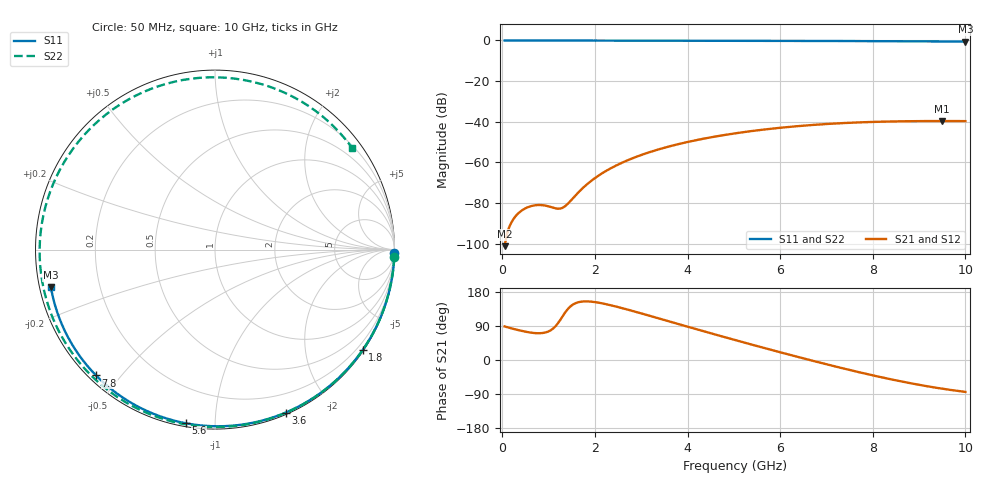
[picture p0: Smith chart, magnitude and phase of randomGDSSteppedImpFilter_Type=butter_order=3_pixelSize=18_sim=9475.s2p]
! freq	dB(S11)	phase(S11)	dB(S12)	phase(S12)
!  dB(S21)	phase(S21)	dB(S22)	phase(S22)
!S-par simulation data
#  GHz  S  DB  R 50
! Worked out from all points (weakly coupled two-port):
!   200 points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, 50 MHz to 10 GHz, reference 50 ohm
!   highest |S21| = -39.65 dB at 9.5 GHz (marker M1); lowest = -101.2 dB at 50 MHz (marker M2)
!   lowest |S11| = -0.6 dB at 10 GHz (marker M3), VSWR 31.29, Z = 1.62 - j5.67 ohm
!   |S11| at or under -10 dB: nowhere
!   |S22| runs from -0.4 to 0.0 dB; largest |S21 - S12| = 0
!   S11 on the Smith chart (normalised r, x): 50 MHz: open; 1.8 GHz: 0.03, -3.25; 3.6 GHz: 0.02, -1.52; 5.6 GHz: 0.02, -0.85; 7.8 GHz: 0.02, -0.43; 10 GHz: 0.03, -0.11
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0.05  -0.00 -1.0  -101.23 88.6  -101.23 88.6  -0.00 -2.4
0.35  -0.01 -6.8  -84.97 78.7  -84.97 78.7  -0.02 -16.8
0.65  -0.02 -12.5  -81.35 71.7  -81.35 71.7  -0.04 -31.0
1.05  -0.03 -20.1  -81.96 78.8  -81.96 78.8  -0.06 -49.2
1.4  -0.03 -26.8  -80.68 132.3  -80.68 132.3  -0.08 -64.5
1.45  -0.04 -27.7  -79.52 139.0  -79.52 139.0  -0.08 -66.6
1.75  -0.04 -33.3  -72.38 154.5  -72.38 154.5  -0.09 -79.0
1.8  -0.04 -34.2  -71.35 154.7  -71.35 154.7  -0.09 -81.0
2.1  -0.05 -39.8  -66.18 150.8  -66.18 150.8  -0.10 -92.6
2.45  -0.06 -46.2  -61.63 141.2  -61.63 141.2  -0.11 -105.5
3.4  -0.08 -63.1  -53.44 109.1  -53.44 109.1  -0.14 -137.1
3.6  -0.09 -66.6  -52.18 102.0  -52.18 102.0  -0.15 -143.2
4.3  -0.11 -78.5  -48.54 77.5  -48.54 77.5  -0.18 -163.7
5.05  -0.14 -90.8  -45.63 51.9  -45.63 51.9  -0.21 175.5
5.6  -0.16 -99.6  -43.97 33.5  -43.97 33.5  -0.23 160.7
6.7  -0.23 -116.7  -41.58 -1.9  -41.58 -1.9  -0.29 131.1
7.25  -0.27 -125.1  -40.79 -18.9  -40.79 -18.9  -0.31 116.1
7.8  -0.31 -133.4  -40.23 -35.0  -40.23 -35.0  -0.34 100.7
8.35  -0.36 -141.7  -39.89 -49.9  -39.89 -49.9  -0.36 85.0
8.9  -0.42 -150.0  -39.70 -63.3  -39.70 -63.3  -0.38 69.0
9.5  -0.49 -159.2  -39.65 -75.7  -39.65 -75.7  -0.41 51.4
10  -0.56 -167.0  -39.69 -84.2  -39.69 -84.2  -0.44 36.7
